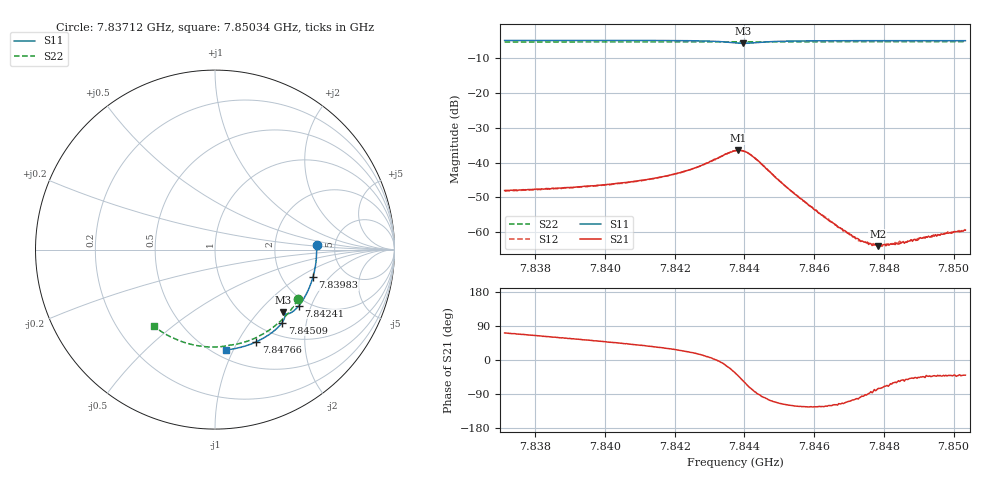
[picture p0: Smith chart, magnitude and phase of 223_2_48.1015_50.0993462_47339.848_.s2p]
#  HZ  S  RI  R  50.00
! Rohde & Schwarz Vector Network Analyzer
! Rohde-Schwarz,ZNB20-2Port,1311601062101988,3.16
! Created: UTC 12/23/2023, 3:56:59 AM
! freq[Hz]  re:S11  im:S11  re:S21  im:S21  re:S12  im:S12  re:S22  im:S22
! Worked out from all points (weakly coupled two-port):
!   401 points, 7.83712 GHz to 7.85034 GHz, reference 50 ohm
!   highest |S21| = -36.48 dB at 7.84383 GHz (marker M1); lowest = -64.0 dB at 7.84783 GHz (marker M2)
!   lowest |S11| = -5.8 dB at 7.84396 GHz (marker M3), VSWR 3.13, Z = 72.6 - j68.9 ohm
!   |S11| at or under -10 dB: nowhere
!   |S22| runs from -5.4 to -5.3 dB; largest |S21 - S12| = 0.00024
!   S11 on the Smith chart (normalised r, x): 7.83712 GHz: 3.58, +0.29; 7.83983 GHz: 2.97, -1.32; 7.84241 GHz: 1.80, -1.64; 7.84509 GHz: 1.25, -1.46; 7.84766 GHz: 0.80, -1.20; 7.85034 GHz: 0.57, -0.93
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7.837123e9  0.5656 0.0276  0.00127 0.00376  0.00128 0.0037  0.463 -0.2775
7.839337e9  0.5544 -0.1189  0.00265 0.00364  0.00261 0.00361  0.3657 -0.3978
7.839833e9  0.5463 -0.1511  0.00305 0.00359  0.003 0.00358  0.3396 -0.4207
7.841551e9  0.5023 -0.2599  0.00508 0.00337  0.00509 0.00334  0.2385 -0.4859
7.84241e9  0.468 -0.3116  0.00728 0.00282  0.00726 0.00284  0.1828 -0.5095
7.843236e9  0.4191 -0.3536  0.0115 -0.000403  0.0116 -0.000489  0.127 -0.5255
7.843732e9  0.3838 -0.3557  0.0123 -0.00821  0.0123 -0.0082  0.0936 -0.5309
7.843831e9  0.3804 -0.3521  0.0111 -0.0101  0.011 -0.01  0.0873 -0.5318
7.843963e9  0.3799 -0.3484  0.00841 -0.012  0.00837 -0.0121  0.079 -0.5331
7.844128e9  0.3837 -0.3479  0.00441 -0.0127  0.00457 -0.0127  0.0686 -0.5351
7.844293e9  0.3883 -0.3539  0.00132 -0.0116  0.00148 -0.0116  0.0579 -0.5372
7.845086e9  0.374 -0.4066  -0.00219 -0.0045  -0.00216 -0.00453  0.0025 -0.5425
7.845945e9  0.3313 -0.4515  -0.00126 -0.00187  -0.00125 -0.00191  -0.0581 -0.5405
7.846672e9  0.2905 -0.481  -0.000588 -0.00106  -0.000557 -0.00104  -0.1087 -0.5332
7.847267e9  0.2552 -0.5014  -0.000181 -0.000779  -0.000136 -0.000741  -0.1494 -0.5237
7.847664e9  0.2311 -0.5132  3.79e-05 -0.000642  5.71e-05 -0.000658  -0.1761 -0.5156
7.847829e9  0.2209 -0.5178  0.000157 -0.000613  0.000151 -0.000656  -0.187 -0.5117
7.847961e9  0.2128 -0.5211  0.000192 -0.000624  0.00022 -0.000591  -0.1957 -0.5087
7.848159e9  0.2004 -0.5261  0.000262 -0.0006  0.000245 -0.000598  -0.2087 -0.5037
7.848589e9  0.1734 -0.5356  0.000389 -0.000575  0.000433 -0.000551  -0.2362 -0.4915
7.849481e9  0.1159 -0.5508  0.000679 -0.000619  0.000683 -0.000608  -0.2912 -0.4616
7.85034e9  0.0592 -0.5594  0.000815 -0.000684  0.000818 -0.000735  -0.3406 -0.4271
